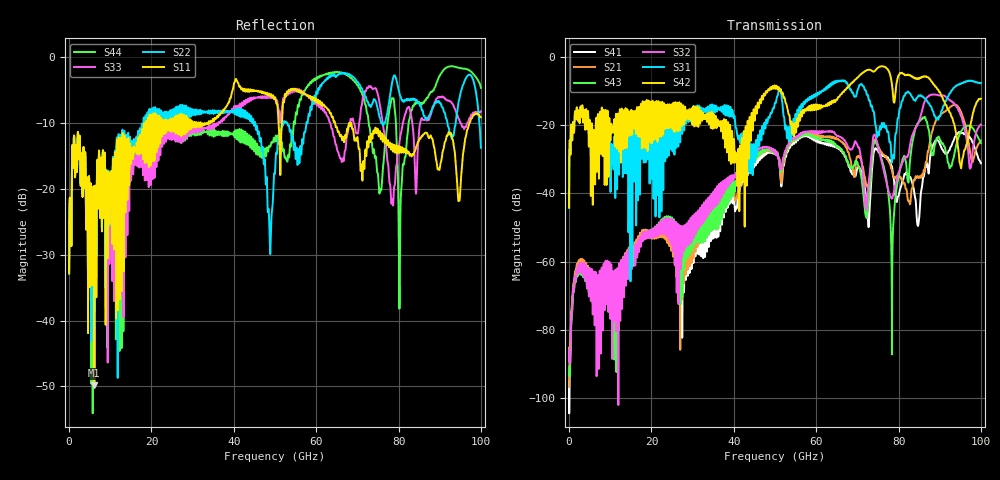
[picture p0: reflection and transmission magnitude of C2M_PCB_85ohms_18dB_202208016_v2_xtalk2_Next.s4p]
! Info: Touchstone file created by Circ.  Input file=Intel_C2M_200G_6p0in_202208016_staggered.circ
# Hz S RI R 50
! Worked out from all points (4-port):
!   10000 points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, 10 MHz to 100 GHz, reference 50 ohm
!   strongest paths, dB at 10 MHz, 25.01 GHz, 50.01 GHz, 75.01 GHz, 100 GHz:
!     S42: -44.1, -16.4, -8.9, -3.2, -12.3
!     S31: -44.3, -19.0, -13.5, -22.0, -7.7
!     S32: -87.5, -47.6, -27.4, -26.2, -19.9
!     S43: -91.3, -47.1, -27.5, -26.7, -25.3
!     S21: -96.6, -49.4, -27.7, -26.0, -24.6
!     S41: -94.9, -49.1, -27.9, -27.6, -31.2
!   lowest |S11| = -49.8 dB at 6.13 GHz (marker M1), VSWR 1.01, Z = 49.7 - j0.0853 ohm
!   |S11| at or under -10 dB: start of sweep to 18.59 GHz; 64.59 GHz to 68.42 GHz (3.834 GHz wide, 5.76 % of centre); 68.49 GHz to 97.31 GHz (28.82 GHz wide, 34.8 % of centre)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
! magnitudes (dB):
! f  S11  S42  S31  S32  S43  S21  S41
! 10 MHz  -32.8  -44.1  -44.3  -87.5  -91.3  -96.6  -94.9
! 6.13 GHz  -49.8  -22.7  -25.3  -67.2  -69.9  -65.0  -67.2
! 56.68 GHz  -5.5  -16.3  -14.9  -22.4  -22.6  -22.4  -22.9
! 74.53 GHz  -11.0  -3.8  -20.5  -23.9  -25.3  -24.7  -27.0
! 78.44 GHz  -13.2  -8.5  -30.5  -41.5  -67.5  -33.4  -32.4
! 85.07 GHz  -12.5  -6.4  -11.5  -18.5  -18.9  -35.2  -46.5
! 100 GHz  -9.2  -12.3  -7.7  -19.9  -25.3  -24.6  -31.2
